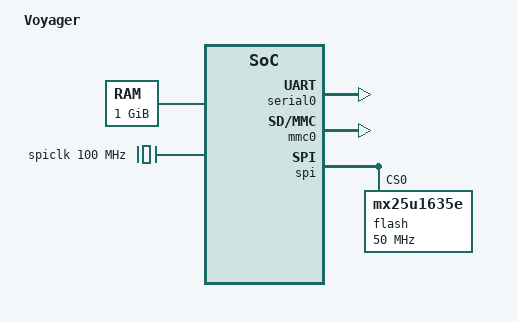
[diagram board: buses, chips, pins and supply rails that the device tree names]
// SPDX-License-Identifier: (GPL-2.0 OR MIT)

/dts-v1/;

#include "binman.dtsi"
#include "voyager-u-boot.dtsi"

/ {
	#address-cells = <0x2>;
	#size-cells = <0x2>;
	compatible = "andestech,voyager", "andestech,qilai";
	model = "Voyager";

	aliases {
		uart0 = &serial0;
		spi0 = &spi;
	};

	chosen {
		bootargs = "console=ttyS0,115200n8 earlycon=sbi debug loglevel=7";
		stdout-path = "uart0:115200n8";
	};

	cpus {
		#address-cells = <0x1>;
		#size-cells = <0x0>;
		timebase-frequency = <0x3938700>;

		CPU0: cpu@0 {
			device_type = "cpu";
			reg = <0x0>;
			status = "okay";
			compatible = "riscv";
			riscv,isa = "rv64imafdc";
			riscv,priv-major = <0x1>;
			riscv,priv-minor = <0xa>;
			mmu-type = "riscv,sv39";
			clock-frequency = <0x3938700>;
			i-cache-size = <0x8000>;
			i-cache-line-size = <0x20>;
			d-cache-size = <0x8000>;
			d-cache-line-size = <0x20>;
			next-level-cache = <&L2>;

			CPU0_intc: interrupt-controller {
				#interrupt-cells = <0x1>;
				interrupt-controller;
				compatible = "riscv,cpu-intc";
			};
		};

		CPU1: cpu@1 {
			device_type = "cpu";
			reg = <0x1>;
			status = "okay";
			compatible = "riscv";
			riscv,isa = "rv64imafdc";
			riscv,priv-major = <0x1>;
			riscv,priv-minor = <0xa>;
			mmu-type = "riscv,sv39";
			clock-frequency = <0x3938700>;
			i-cache-size = <0x8000>;
			i-cache-line-size = <0x20>;
			d-cache-size = <0x8000>;
			d-cache-line-size = <0x20>;
			next-level-cache = <&L2>;

			CPU1_intc: interrupt-controller {
				#interrupt-cells = <0x1>;
				interrupt-controller;
				compatible = "riscv,cpu-intc";
			};
		};

		CPU2: cpu@2 {
			device_type = "cpu";
			reg = <0x2>;
			status = "okay";
			compatible = "riscv";
			riscv,isa = "rv64imafdc";
			riscv,priv-major = <0x1>;
			riscv,priv-minor = <0xa>;
			mmu-type = "riscv,sv39";
			clock-frequency = <0x3938700>;
			i-cache-size = <0x8000>;
			i-cache-line-size = <0x20>;
			d-cache-size = <0x8000>;
			d-cache-line-size = <0x20>;
			next-level-cache = <&L2>;

			CPU2_intc: interrupt-controller {
				#interrupt-cells = <0x1>;
				interrupt-controller;
				compatible = "riscv,cpu-intc";
			};
		};

		CPU3: cpu@3 {
			device_type = "cpu";
			reg = <0x3>;
			status = "okay";
			compatible = "riscv";
			riscv,isa = "rv64imafdc";
			riscv,priv-major = <0x1>;
			riscv,priv-minor = <0xa>;
			mmu-type = "riscv,sv39";
			clock-frequency = <0x3938700>;
			i-cache-size = <0x8000>;
			i-cache-line-size = <0x20>;
			d-cache-size = <0x8000>;
			d-cache-line-size = <0x20>;
			next-level-cache = <&L2>;

			CPU3_intc: interrupt-controller {
				#interrupt-cells = <0x1>;
				interrupt-controller;
				compatible = "riscv,cpu-intc";
			};
		};
	};

	L2: l2-cache@200000 {
		compatible = "cache";
		cache-level = <0x2>;
		cache-size = <0x40000>;
		reg = <0x0 0x00200000 0x0 0x100000>;
		andes,inst-prefetch = <0x3>;
		andes,data-prefetch = <0x3>;
		andes,tag-ram-ctl = <0x0 0x0>;
		andes,data-ram-ctl = <0x0 0x0>;
	};

	memory@400000000 {
		device_type = "memory";
		reg = <0x04 0x00000000 0x0 0x40000000>;
	};

	soc {
		#address-cells = <0x2>;
		#size-cells = <0x2>;
		compatible = "simple-bus";
		ranges;

		plic0: interrupt-controller@2000000 {
			compatible = "riscv,plic0";
			#address-cells = <0x2>;
			#interrupt-cells = <0x2>;
			interrupt-controller;
			reg = <0x0 0x02000000 0x0 0x2000000>;
			riscv,ndev = <0x47>;
			interrupts-extended = <&CPU0_intc 11 &CPU0_intc 9
					       &CPU1_intc 11 &CPU1_intc 9
					       &CPU2_intc 11 &CPU2_intc 9
					       &CPU3_intc 11 &CPU3_intc 9>;
		};

		plic1: interrupt-controller@400000 {
			compatible = "andestech,plicsw";
			#address-cells = <0x2>;
			#interrupt-cells = <0x2>;
			interrupt-controller;
			reg = <0x0 0x00400000 0x0 0x400000>;
			riscv,ndev = <0x1>;
			interrupts-extended = <&CPU0_intc 3
					       &CPU1_intc 3
					       &CPU2_intc 3
					       &CPU3_intc 3>;
		};

		plmt0@100000 {
			compatible = "andestech,plmt0";
			reg = <0x0 0x00100000 0x0 0x100000>;
			interrupts-extended = <&CPU0_intc 7
					       &CPU1_intc 7
					       &CPU2_intc 7
					       &CPU3_intc 7>;
		};
	};

	spiclk: virt_100mhz {
		#clock-cells = <0x0>;
		compatible = "fixed-clock";
		clock-frequency = <0x5f5e100>;
	};

	serial0: serial@30300000 {
		compatible = "andestech,uart16550", "ns16550a";
		reg = <0x0 0x30300000 0x0 0x1000>;
		interrupts = <0x9 0x4>;
		clock-frequency = <0x12c0000>;
		reg-shift = <0x2>;
		reg-offset = <0x20>;
		no-loopback-test = <0x1>;
		interrupt-parent = <&plic0>;
	};

	mmc0: mmc@30c00000 {
		compatible = "andestech,atfsdc010";
		max-frequency = <0x5f5e100>;
		clock-freq-min-max = <0x61a80 0x5f5e100>;
		fifo-depth = <0x10>;
		reg = <0x0 0x30c00000 0x0 0x1000>;
		interrupts = <0x12 0x4>;
		cap-sd-highspeed;
		interrupt-parent = <&plic0>;
		dma-coherent;
	};

	spi: spi@30900000 {
		compatible = "andestech,atcspi200";
		reg = <0x0 0x30900000 0x0 0x100000>;
		#address-cells = <0x1>;
		#size-cells = <0x0>;
		num-cs = <0x1>;
		clocks = <&spiclk>;
		interrupts = <0x4 0x4>;
		interrupt-parent = <&plic0>;

		flash@0 {
			compatible = "mx25u1635e", "jedec,spi-nor";
			spi-max-frequency = <0x2faf080>;
			reg = <0x0>;
			spi-cpol;
			spi-cpha;
		};
	};
};
